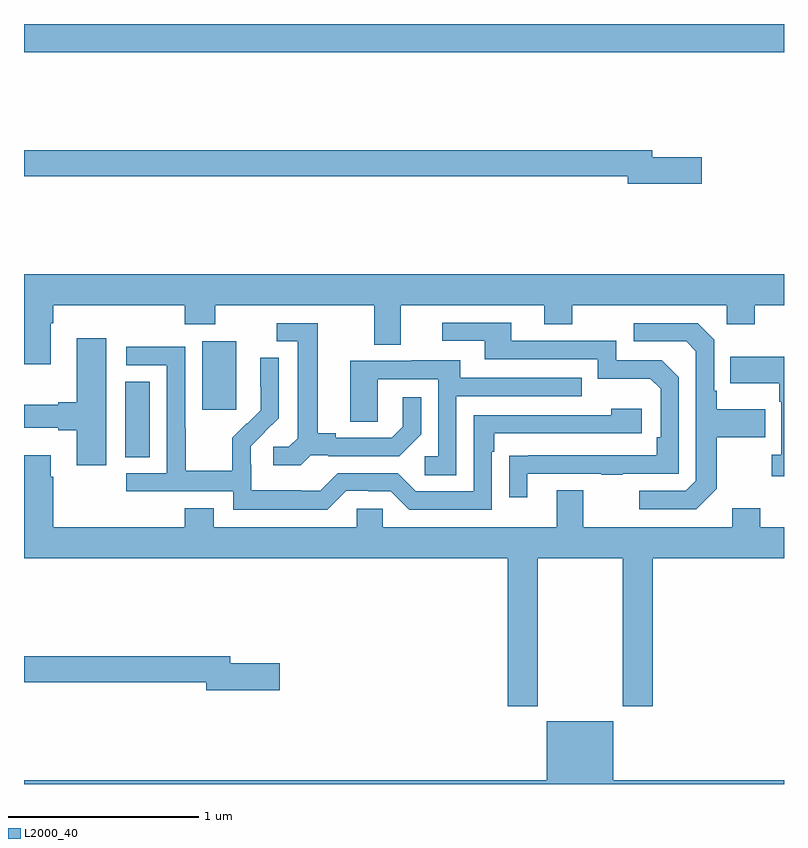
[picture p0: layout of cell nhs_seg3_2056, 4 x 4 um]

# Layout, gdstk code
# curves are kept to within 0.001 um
import gdstk
lib = gdstk.Library(unit=1e-6, precision=1e-09)
def R(c, l, rs):  # rectangles x0, y0, x1, y1
    for r in rs: c.add(gdstk.rectangle(r[:2], r[2:], *l))
def P(c, l, *ps):  # polygons
    for p in ps: c.add(gdstk.Polygon(p, *l))
L2000_40 = (2000, 40)

nhs_seg3_2056 = lib.new_cell('nhs_seg3_2056')
R(nhs_seg3_2056, L2000_40, [(217.532,696.121,217.663,696.518), (217.937,696.369,218.116,696.73), (217,698.252,221,698.4)])
P(nhs_seg3_2056, L2000_40, [(220.567,697.7),(220.306,697.7),(220.306,697.736),(217,697.736),(217,697.6),(220.178,697.6),(220.178,697.558),(220.567,697.558)],
  [(217.141,696.824),(217.154,696.824),(217.154,696.92),(217.847,696.92),(217.847,696.821),(218.007,696.821),(218.007,696.92),(218.843,696.92),(218.843,696.712),(218.983,696.712),(218.983,696.92),(219.737,696.92),(219.737,696.821),(219.885,696.821),(219.885,696.92),(220.698,696.92),(220.698,696.821),(220.845,696.821),(220.845,696.92),(221,696.92),(221,697.084),(217,697.084),(217,696.721),(217.001,696.721),(217.001,696.609),(217.141,696.609)],
  [(219.649,696.033),(220.039,696.033),(220.039,696.028),(220.151,696.028),(220.151,696.033),(220.446,696.033),(220.446,696.54),(220.356,696.63),(220.116,696.63),(220.116,696.732),(219.565,696.732),(219.565,696.828),(219.201,696.828),(219.201,696.732),(219.425,696.732),(219.425,696.636),(220.02,696.636),(220.02,696.533),(220.297,696.533),(220.35,696.48),(220.35,696.226),(220.33,696.226),(220.33,696.129),(219.553,696.128),(219.553,695.91),(219.649,695.91)],
  [(220.645,695.953),(220.645,696.226),(220.901,696.226),(220.901,696.373),(220.645,696.373),(220.645,696.469),(220.632,696.469),(220.632,696.738),(220.545,696.825),(220.209,696.825),(220.209,696.729),(220.485,696.729),(220.536,696.678),(220.536,695.997),(220.482,695.943),(220.239,695.943),(220.239,695.847),(220.539,695.847)],
  [(218.508,696.129),(218.602,696.129),(218.602,696.126),(218.974,696.126),(219.09,696.242),(219.09,696.436),(218.993,696.436),(218.993,696.279),(218.936,696.222),(218.641,696.222),(218.641,696.245),(218.545,696.245),(218.545,696.825),(218.331,696.825),(218.331,696.729),(218.441,696.729),(218.441,696.221),(218.394,696.174),(218.313,696.174),(218.313,696.077),(218.456,696.077)],
  [(217.432,696.745),(217.277,696.745),(217.277,696.41),(217.181,696.41),(217.181,696.397),(217,696.397),(217,696.275),(217.181,696.275),(217.181,696.263),(217.277,696.263),(217.277,696.078),(217.432,696.078)],
  [(218.697,695.943),(218.813,695.943),(218.813,695.94),(218.931,695.94),(219.027,695.844),(219.462,695.844),(219.462,696.149),(219.475,696.149),(219.475,696.246),(220.252,696.246),(220.252,696.376),(220.091,696.376),(220.091,696.342),(219.366,696.342),(219.366,695.94),(219.063,695.94),(218.967,696.036),(218.652,696.036),(218.559,695.943),(218.459,695.943),(218.459,695.947),(218.196,695.947),(218.196,696.081),(218.194,696.081),(218.194,696.178),(218.34,696.326),(218.34,696.644),(218.244,696.644),(218.244,696.49),(218.246,696.49),(218.246,696.368),(218.175,696.297),(218.172,696.3),(218.095,696.223),(218.095,696.049),(217.851,696.049),(217.851,696.272),(217.848,696.272),(217.848,696.702),(217.539,696.702),(217.539,696.603),(217.752,696.603),(217.752,696.036),(217.539,696.036),(217.539,695.94),(218.1,695.94),(218.1,695.843),(218.597,695.843)],
  [(221,696.649),(220.717,696.649),(220.717,696.509),(220.974,696.509),(220.974,696.413),(220.986,696.413),(220.986,696.134),(220.935,696.134),(220.935,696.021),(221,696.021)],
  [(219.276,696.441),(219.935,696.441),(219.935,696.537),(219.295,696.537),(219.295,696.631),(219.041,696.631),(219.041,696.627),(218.717,696.627),(218.717,696.307),(218.862,696.307),(218.862,696.531),(219.18,696.531),(219.18,696.126),(219.108,696.126),(219.108,696.025),(219.276,696.025)],
  [(219.705,695.588),(220.15,695.588),(220.15,694.809),(220.31,694.809),(220.31,695.588),(221,695.588),(221,695.752),(220.875,695.752),(220.875,695.851),(220.727,695.851),(220.727,695.752),(219.943,695.752),(219.943,695.947),(219.803,695.947),(219.803,695.752),(218.889,695.752),(218.889,695.85),(218.751,695.85),(218.751,695.752),(217.999,695.752),(217.999,695.851),(217.847,695.851),(217.847,695.752),(217.154,695.752),(217.154,696.017),(217.141,696.017),(217.141,696.13),(217.001,696.13),(217.001,695.752),(217,695.752),(217,695.588),(219.545,695.588),(219.545,694.809),(219.705,694.809)],
  [(218.347,695.036),(218.086,695.036),(218.086,695.072),(217,695.072),(217,694.936),(217.958,694.936),(217.958,694.894),(218.347,694.894)],
  [(221,694.42),(220.102,694.42),(220.102,694.729),(219.752,694.729),(219.752,694.42),(217,694.42),(217,694.4),(221,694.4)])

lib.write_gds('nhs_seg3_2056.gds')
